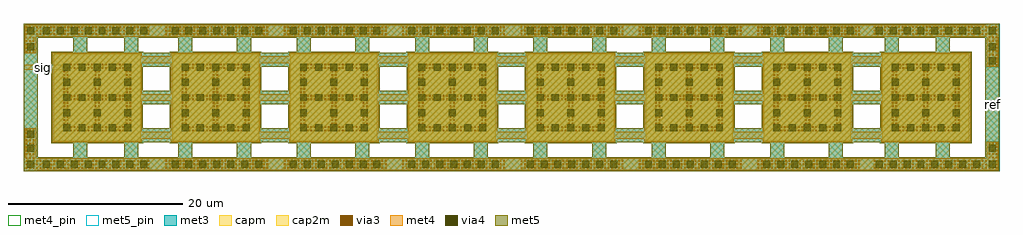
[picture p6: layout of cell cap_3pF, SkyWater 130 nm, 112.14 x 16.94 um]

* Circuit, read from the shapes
.subckt cap_3pF ref sig
XC1 sig ref sky130_fd_pr__cap_mim_m3_1 w=10 l=10 m=8
XC2 ref sig sky130_fd_pr__cap_mim_m3_2 w=10 l=10 m=8
.ends

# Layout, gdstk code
from math import pi, radians
import gdstk
lib = gdstk.Library(unit=1e-6, precision=1e-09)
def R(c, l, rs):  # rectangles x0, y0, x1, y1
    for r in rs: c.add(gdstk.rectangle(r[:2], r[2:], *l))
def A(c, l, x, y, w, h, nx, ny, dx, dy):  # array of equal rectangles
    R(c, l, [(x+i*dx, y+j*dy, x+i*dx+w, y+j*dy+h) for i in range(nx) for j in range(ny)])
met3 = (70, 20)
via3 = (70, 44)
met4_pin = (71, 16)
met4 = (71, 20)
via4 = (71, 44)
met5_pin = (72, 16)
met5 = (72, 20)
capm = (89, 44)
cap2m = (97, 44)

cap_10_10_side2_x2 = lib.new_cell('cap_10_10_side2_x2')
R(cap_10_10_side2_x2, met3, [(-3.55,-1.83,-1.94,0.28), (-0.22,-1.83,1.38,-0.3), (4.12,-1.83,5.72,-0.29), (8.46,-1.83,10.06,-0.3), (11.78,-1.83,13.39,0.28), (-0.34,-0.3,1.38,-0.29), (8.46,-0.3,10.18,-0.29), (-0.34,-0.29,10.18,0.28), (-3.55,0.28,13.39,1.88), (-3.55,1.88,-1.94,6.105), (-0.34,1.88,10.18,6.105), (11.78,1.88,13.39,6.105), (-3.55,6.105,13.39,7.705), (-3.55,7.705,-1.94,11.83), (-0.34,7.705,10.18,10.23), (11.78,7.705,13.39,11.83), (-3.55,11.83,13.39,13.44)])
A(cap_10_10_side2_x2, via3, -3.29, -1.005, 0.2, 0.2, 3, 33, 0.4, 0.4)
A(cap_10_10_side2_x2, via3, 12.105, -1.005, 0.2, 0.2, 3, 33, 0.4, 0.4)
A(cap_10_10_side2_x2, via3, 1.02, 1.07, 0.2, 0.2, 20, 2, 0.4, 0.4)
A(cap_10_10_side2_x2, via3, 1.02, 1.87, 0.2, 0.2, 1, 7, 0, 0.4)
A(cap_10_10_side2_x2, via3, 1.42, 1.87, 0.2, 0.2, 1, 7, 0, 0.4)
A(cap_10_10_side2_x2, via3, 4.62, 1.87, 0.2, 0.2, 1, 7, 0, 0.4)
A(cap_10_10_side2_x2, via3, 5.02, 1.87, 0.2, 0.2, 1, 7, 0, 0.4)
A(cap_10_10_side2_x2, via3, 8.22, 1.87, 0.2, 0.2, 1, 7, 0, 0.4)
A(cap_10_10_side2_x2, via3, 8.62, 1.87, 0.2, 0.2, 1, 7, 0, 0.4)
A(cap_10_10_side2_x2, via3, 1.02, 4.67, 0.2, 0.2, 20, 2, 0.4, 0.4)
A(cap_10_10_side2_x2, via3, 1.02, 5.47, 0.2, 0.2, 1, 7, 0, 0.4)
A(cap_10_10_side2_x2, via3, 1.42, 5.47, 0.2, 0.2, 1, 7, 0, 0.4)
A(cap_10_10_side2_x2, via3, 4.62, 5.47, 0.2, 0.2, 1, 7, 0, 0.4)
A(cap_10_10_side2_x2, via3, 5.02, 5.47, 0.2, 0.2, 1, 7, 0, 0.4)
A(cap_10_10_side2_x2, via3, 8.22, 5.47, 0.2, 0.2, 1, 7, 0, 0.4)
A(cap_10_10_side2_x2, via3, 8.62, 5.47, 0.2, 0.2, 1, 7, 0, 0.4)
A(cap_10_10_side2_x2, via3, 1.02, 8.27, 0.2, 0.2, 20, 2, 0.4, 0.4)
A(cap_10_10_side2_x2, via3, -3.29, 12.195, 0.2, 0.2, 12, 3, 0.4, 0.4)
A(cap_10_10_side2_x2, via3, 10.105, 12.195, 0.2, 0.2, 8, 3, 0.4, 0.4)
A(cap_10_10_side2_x2, met4, 0.18, -1.83, 0.8, 1.66, 3, 1, 4.34, 0)
A(cap_10_10_side2_x2, met4, -0.225, 0.23, 10.285, 0.8, 1, 3, 0, 4.34)
R(cap_10_10_side2_x2, met4, [(-3.42,-1.83,-2.06,11.945), (11.9,-1.83,13.26,11.95), (-0.22,-0.17,10.06,0.23), (-0.22,1.03,10.06,4.57), (-0.22,5.37,10.06,8.91), (-0.22,9.71,10.06,10.11), (-3.54,11.945,-2.06,11.95), (-3.54,11.95,1.41,13.31), (9.98,11.95,13.26,13.31), (-3.425,13.31,-2.06,13.43)])
A(cap_10_10_side2_x2, via4, -3.14, -0.78, 0.8, 0.8, 1, 8, 0, 1.6)
A(cap_10_10_side2_x2, via4, 12.18, -0.78, 0.8, 0.8, 1, 8, 0, 1.6)
A(cap_10_10_side2_x2, via4, 1.02, 1.07, 0.8, 0.8, 5, 3, 1.75, 3.5)
A(cap_10_10_side2_x2, via4, 1.02, 2.82, 0.8, 0.8, 3, 2, 3.5, 3.5)
R(cap_10_10_side2_x2, via4, [(-3.14,12.23,-2.34,13.03), (-1.32,12.23,-0.52,13.03), (0.28,12.23,1.08,13.03), (10.33,12.23,11.13,13.03), (12.18,12.23,12.98,13.03)])
R(cap_10_10_side2_x2, met5, [(-3.54,-1.83,-1.94,0.28), (-0.22,-1.83,1.38,-0.3), (4.12,-1.83,5.72,-0.29), (8.46,-1.83,10.06,-0.3), (11.78,-1.83,13.38,0.28), (-0.34,-0.3,1.38,-0.29), (8.46,-0.3,10.18,-0.29), (-0.34,-0.29,10.18,0.28), (-3.54,0.28,13.38,1.88), (-3.54,1.88,-1.94,6.105), (-0.34,1.88,10.18,6.105), (11.78,1.88,13.38,6.105), (-3.54,6.105,13.38,7.705), (-3.54,7.705,-1.94,11.83), (-0.34,7.705,10.18,10.23), (11.78,7.705,13.38,11.83), (-3.54,11.83,13.38,13.43)])
R(cap_10_10_side2_x2, capm, [(-0.08,-0.03,9.92,9.97)])
R(cap_10_10_side2_x2, cap2m, [(-0.08,-0.03,9.92,9.97)])

cap_10_10_center_x2 = lib.new_cell('cap_10_10_center_x2')
R(cap_10_10_center_x2, met3, [(-3.55,-1.83,-1.94,0.69), (-0.22,-1.83,1.38,-0.3), (4.12,-1.83,5.72,-0.29), (8.46,-1.83,10.06,-0.3), (11.78,-1.83,13.39,0.69), (-0.34,-0.3,1.38,-0.29), (8.46,-0.3,10.18,-0.29), (-0.34,-0.29,10.18,0.69), (-3.55,0.69,13.39,2.305), (-3.55,2.305,-1.94,7.425), (-0.34,2.305,10.18,7.425), (11.78,2.305,13.39,7.425), (-3.55,7.425,13.39,9.04), (-3.55,9.04,-1.94,11.77), (-0.34,9.04,10.18,10.23), (11.78,9.04,13.39,11.77), (-0.34,10.23,1.38,10.24), (4.12,10.23,5.72,11.77), (8.46,10.23,10.18,10.24), (-0.22,10.24,1.38,11.77), (8.46,10.24,10.06,11.77)])
A(cap_10_10_center_x2, via3, -3.24, -0.79, 0.2, 0.2, 3, 30, 0.4, 0.4)
A(cap_10_10_center_x2, via3, 12.08, -0.79, 0.2, 0.2, 3, 30, 0.4, 0.4)
A(cap_10_10_center_x2, via3, 1.02, 1.07, 0.2, 0.2, 20, 2, 0.4, 0.4)
A(cap_10_10_center_x2, via3, 1.02, 1.87, 0.2, 0.2, 1, 7, 0, 0.4)
A(cap_10_10_center_x2, via3, 1.42, 1.87, 0.2, 0.2, 1, 7, 0, 0.4)
A(cap_10_10_center_x2, via3, 4.62, 1.87, 0.2, 0.2, 1, 7, 0, 0.4)
A(cap_10_10_center_x2, via3, 5.02, 1.87, 0.2, 0.2, 1, 7, 0, 0.4)
A(cap_10_10_center_x2, via3, 8.22, 1.87, 0.2, 0.2, 1, 7, 0, 0.4)
A(cap_10_10_center_x2, via3, 8.62, 1.87, 0.2, 0.2, 1, 7, 0, 0.4)
A(cap_10_10_center_x2, via3, 1.02, 4.67, 0.2, 0.2, 20, 2, 0.4, 0.4)
A(cap_10_10_center_x2, via3, 1.02, 5.47, 0.2, 0.2, 1, 7, 0, 0.4)
A(cap_10_10_center_x2, via3, 1.42, 5.47, 0.2, 0.2, 1, 7, 0, 0.4)
A(cap_10_10_center_x2, via3, 4.62, 5.47, 0.2, 0.2, 1, 7, 0, 0.4)
A(cap_10_10_center_x2, via3, 5.02, 5.47, 0.2, 0.2, 1, 7, 0, 0.4)
A(cap_10_10_center_x2, via3, 8.22, 5.47, 0.2, 0.2, 1, 7, 0, 0.4)
A(cap_10_10_center_x2, via3, 8.62, 5.47, 0.2, 0.2, 1, 7, 0, 0.4)
A(cap_10_10_center_x2, via3, 1.02, 8.27, 0.2, 0.2, 20, 2, 0.4, 0.4)
A(cap_10_10_center_x2, met4, 0.18, -1.83, 0.8, 1.66, 3, 2, 4.34, 11.94)
R(cap_10_10_center_x2, met4, [(-3.42,-1.83,-2.055,-0.9), (11.9,-1.83,13.265,-0.9), (-3.42,-0.9,-2.06,10.84), (11.9,-0.9,13.26,10.84), (-0.22,-0.17,10.06,10.11), (-3.425,10.84,-2.06,11.77), (11.895,10.84,13.26,11.77)])
A(cap_10_10_center_x2, via4, -3.14, -0.09, 0.8, 0.8, 1, 7, 0, 1.6)
A(cap_10_10_center_x2, via4, 12.18, -0.09, 0.8, 0.8, 1, 7, 0, 1.6)
A(cap_10_10_center_x2, via4, 1.02, 1.07, 0.8, 0.8, 5, 3, 1.75, 3.5)
A(cap_10_10_center_x2, via4, 1.02, 2.82, 0.8, 0.8, 3, 2, 3.5, 3.5)
R(cap_10_10_center_x2, met5, [(-3.54,-1.83,-1.94,0.69), (-0.22,-1.83,1.38,-0.3), (4.12,-1.83,5.72,-0.29), (8.46,-1.83,10.06,-0.3), (11.78,-1.83,13.38,0.69), (-0.34,-0.3,1.38,-0.29), (8.46,-0.3,10.18,-0.29), (-0.34,-0.29,10.18,0.69), (-3.54,0.69,13.38,2.305), (-3.54,2.305,-1.94,7.425), (-0.34,2.305,10.18,7.425), (11.78,2.305,13.38,7.425), (-3.54,7.425,13.38,9.04), (-3.54,9.04,-1.94,11.77), (-0.34,9.04,10.18,10.23), (11.78,9.04,13.38,11.77), (-0.34,10.23,1.38,10.24), (4.12,10.23,5.72,11.77), (8.46,10.23,10.18,10.24), (-0.22,10.24,1.38,11.77), (8.46,10.24,10.06,11.77)])
R(cap_10_10_center_x2, capm, [(-0.08,-0.03,9.92,9.97)])
R(cap_10_10_center_x2, cap2m, [(-0.08,-0.03,9.92,9.97)])

cap_3pf = lib.new_cell('cap_3pF')
R(cap_3pf, met4_pin, [(-33.335,22.125,-28.835,22.725)])
R(cap_3pf, met4, [(-33.335,22.125,-28.835,22.725)])
R(cap_3pf, met5_pin, [(77.185,13.885,78.785,22.465)])
R(cap_3pf, met5, [(77.185,13.885,78.785,22.465)])
cap_3pf.add(gdstk.Reference(cap_10_10_side2_x2, (65.355,23.87), rotation=3*pi/2))
cap_3pf.add(gdstk.Reference(cap_10_10_side2_x2, (-19.905,14.03), rotation=pi/2))
r = gdstk.Reference(cap_10_10_center_x2, (-16.245,23.87), rotation=3*pi/2); r.repetition = gdstk.Repetition(1, 6, v1=(0,16.94), v2=(13.6,0)); cap_3pf.add(r)
cap_3pf.add(gdstk.Label('ref', (77.985,18.175), layer=72, texttype=16))
cap_3pf.add(gdstk.Label('sig', (-31.085,22.425), layer=71, texttype=16))

lib.write_gds('cap_3pF.gds')
